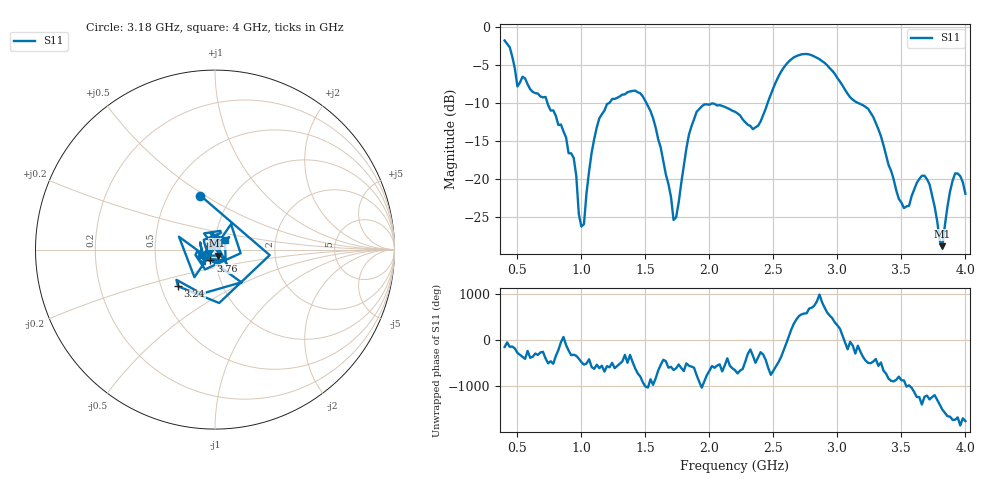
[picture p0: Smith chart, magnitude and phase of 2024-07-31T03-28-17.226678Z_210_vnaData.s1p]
!Created with skrf (http://scikit-rf.org).
# Hz S RI R 50.0
!freq ReS11 ImS11
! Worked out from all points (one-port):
!   181 points, 400 MHz to 4 GHz, reference 50 ohm
!   lowest |S11| = -28.8 dB at 3.82 GHz (marker M1), VSWR 1.08, Z = 51.4 - j3.4 ohm
!   |S11| at or under -10 dB: 735.2 MHz to 1.214 GHz (479.2 MHz wide, 49.2 % of centre); 1.508 GHz to 2.455 GHz (946.2 MHz wide, 47.8 % of centre); 3.164 GHz to end of sweep
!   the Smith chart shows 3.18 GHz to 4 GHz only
!   S11 on the Smith chart (normalised r, x): 3.18 GHz: 0.72, +0.48; 3.24 GHz: 0.61, -0.27; 3.76 GHz: 0.94, -0.11; 4 GHz: 1.11, +0.12
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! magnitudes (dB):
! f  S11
! 400 MHz  -1.7
! 500 MHz  -7.8
! 720 MHz  -9.2
! 860 MHz  -13.7
! 940 MHz  -17.2
! 1 GHz  -26.3
! 1.14 GHz  -12.0
! 1.3 GHz  -9.1
! 1.5 GHz  -9.7
! 1.62 GHz  -15.9
! 1.72 GHz  -25.4
! 1.76 GHz  -23.1
! 1.84 GHz  -14.2
! 1.9 GHz  -11.1
! 2.2 GHz  -11.1
! 2.38 GHz  -13.0
! 2.66 GHz  -4.0
! 2.86 GHz  -4.2
! 3.1 GHz  -9.2
! 3.18 GHz  -10.1
! 3.24 GHz  -10.7
! 3.48 GHz  -22.6
! 3.56 GHz  -23.5
! 3.68 GHz  -19.5
! 3.76 GHz  -23.7
! 3.82 GHz  -28.8
! 3.92 GHz  -19.3
! 4 GHz  -21.9
